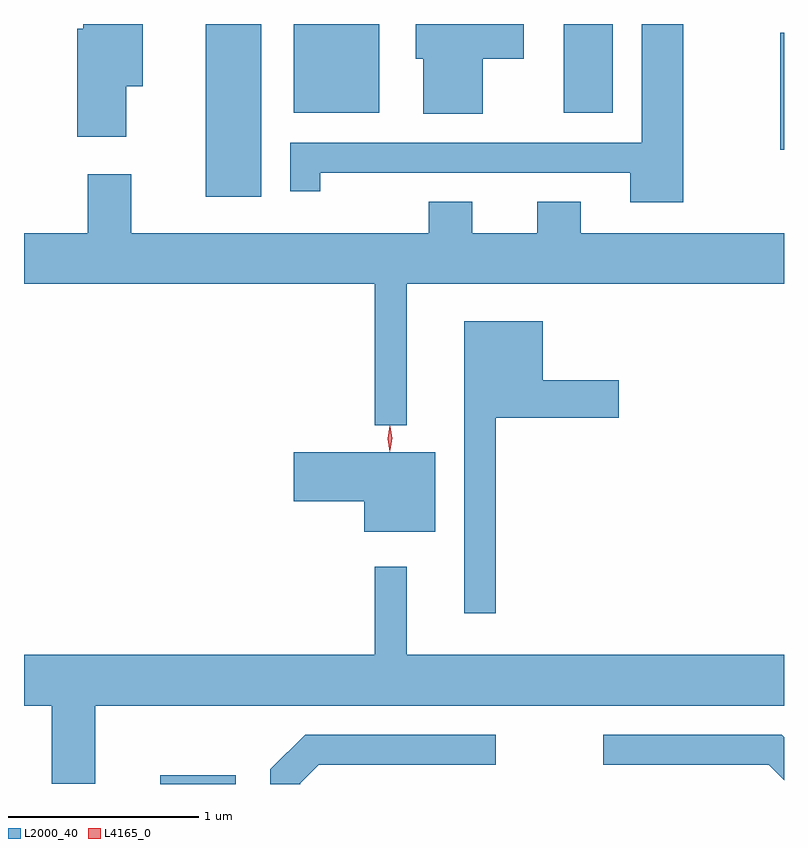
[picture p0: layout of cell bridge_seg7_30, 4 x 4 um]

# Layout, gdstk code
import gdstk
lib = gdstk.Library(unit=1e-6, precision=1e-09)
def R(c, l, rs):  # rectangles x0, y0, x1, y1
    for r in rs: c.add(gdstk.rectangle(r[:2], r[2:], *l))
def P(c, l, *ps):  # polygons
    for p in ps: c.add(gdstk.Polygon(p, *l))
L2000_40 = (2000, 40)
L4165_0 = (4165, 0)

bridge_seg7_30 = lib.new_cell('bridge_seg7_30')
R(bridge_seg7_30, L2000_40, [(1741.953,1742.764,1742.349,1742.809), (1742.191,1745.856,1742.484,1746.764), (1745.216,1746.101,1745.235,1746.719), (1742.656,1746.296,1743.104,1746.764), (1744.076,1746.296,1744.334,1746.764)])
P(bridge_seg7_30, L2000_40, [(1743.649,1746.581),(1743.864,1746.581),(1743.864,1746.764),(1743.296,1746.764),(1743.296,1746.581),(1743.336,1746.581),(1743.336,1746.291),(1743.649,1746.291)],
  [(1744.704,1746.764),(1744.486,1746.764),(1744.486,1746.139),(1742.636,1746.139),(1742.636,1745.883),(1742.794,1745.883),(1742.794,1745.981),(1744.426,1745.981),(1744.426,1745.826),(1744.704,1745.826)],
  [(1741.774,1746.436),(1741.859,1746.436),(1741.859,1746.764),(1741.546,1746.764),(1741.546,1746.739),(1741.516,1746.739),(1741.516,1746.171),(1741.774,1746.171)],
  [(1743.249,1745.396),(1745.235,1745.396),(1745.235,1745.664),(1744.164,1745.664),(1744.164,1745.829),(1743.936,1745.829),(1743.936,1745.664),(1743.594,1745.664),(1743.594,1745.829),(1743.366,1745.829),(1743.366,1745.664),(1741.799,1745.664),(1741.799,1745.974),(1741.571,1745.974),(1741.571,1745.664),(1741.235,1745.664),(1741.235,1745.396),(1743.081,1745.396),(1743.081,1744.653),(1743.249,1744.653)],
  [(1743.719,1744.691),(1744.364,1744.691),(1744.364,1744.889),(1743.964,1744.889),(1743.964,1745.199),(1743.551,1745.199),(1743.551,1743.663),(1743.719,1743.663)],
  [(1743.399,1744.509),(1742.656,1744.509),(1742.656,1744.251),(1743.026,1744.251),(1743.026,1744.091),(1743.399,1744.091)],
  [(1741.609,1743.176),(1745.235,1743.176),(1745.235,1743.444),(1743.249,1743.444),(1743.249,1743.908),(1743.081,1743.908),(1743.081,1743.444),(1741.235,1743.444),(1741.235,1743.176),(1741.381,1743.176),(1741.381,1742.766),(1741.609,1742.766)],
  [(1745.235,1743.011),(1745.222,1743.024),(1744.283,1743.024),(1744.283,1742.866),(1745.154,1742.866),(1745.235,1742.785)],
  [(1742.689,1742.769),(1742.787,1742.866),(1743.718,1742.866),(1743.718,1743.024),(1742.714,1743.024),(1742.531,1742.842),(1742.531,1742.764),(1742.689,1742.764)])
P(bridge_seg7_30, L4165_0, [(1743.159,1744.514),(1743.159,1744.514),(1743.149,1744.582),(1743.159,1744.65),(1743.159,1744.65),(1743.16,1744.65),(1743.169,1744.582),(1743.16,1744.514)],
  [(1743.162,1744.52),(1743.162,1744.52),(1743.152,1744.583),(1743.162,1744.646),(1743.162,1744.647),(1743.163,1744.646),(1743.172,1744.583),(1743.163,1744.52)])

lib.write_gds('bridge_seg7_30.gds')
